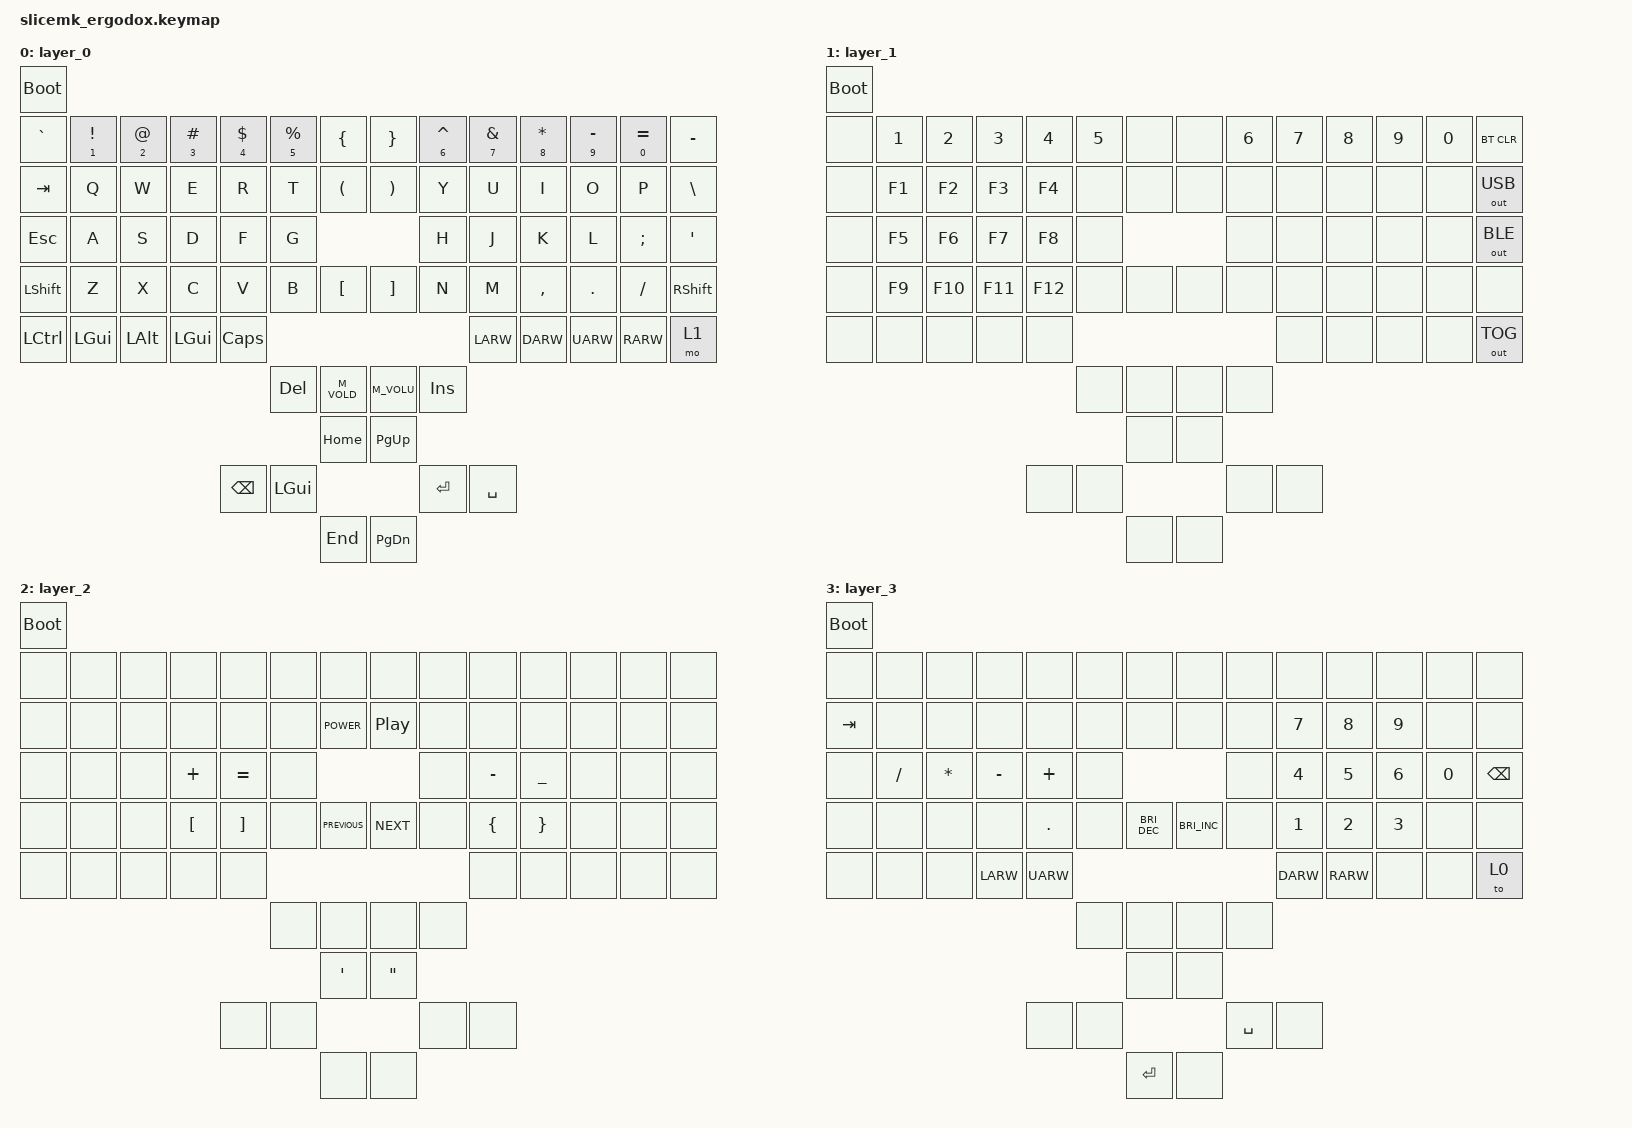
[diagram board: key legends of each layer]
#include <behaviors.dtsi>
#include <dt-bindings/zmk/bt.h>
#include <dt-bindings/zmk/keys.h>
#include <dt-bindings/zmk/outputs.h>

/ {
	keymap {
		compatible = "zmk,keymap";

                layer_0 {
                        bindings = <
    &bootloader
    &kp GRAV   &mt N1 EXCL   &mt N2 AT     &mt N3 HASH   &mt N4 DOLLAR  &mt N5 PRCNT  &kp LBRC   &kp RBRC   &mt N6 CARET  &mt N7 AMPS  &mt N8 STAR  &mt N9 MINUS  &mt N0 EQUAL  &kp MINUS
    &kp TAB    &kp Q       &kp W     &kp E      &kp R      &kp T       &kp LPAR   &kp RPAR   &kp Y      &kp U      &kp I      &kp O      &kp P      &kp BSLH
    &kp ESC    &kp A      &kp S      &kp D      &kp F      &kp G                            &kp H      &kp J      &kp K      &kp L      &kp SCLN   &kp SQT
    &kp LSHFT  &kp Z      &kp X      &kp C      &kp V      &kp B      &kp LBKT   &kp RBKT   &kp N      &kp M      &kp CMMA   &kp DOT    &kp FSLH   &kp RSHFT
    &kp LCTRL  &kp LGUI   &kp LALT   &kp LGUI   &kp CAPS                                               &kp LARW   &kp DARW   &kp UARW   &kp RARW   &mo 1
                                                           &kp DEL    &kp M_VOLD   &kp M_VOLU    &kp INS
                                                                      &kp HOME     &kp PG_UP
                                                &kp BSPC   &kp LGUI                          &kp RET    &kp SPC
                                                                      &kp END    &kp PG_DN
                        >;
                };

                layer_1 {
                        bindings = <
    &bootloader
    &none      &kp N1     &kp N2    &kp N3   &kp N4     &kp N5     &none      &none      &kp N6     &kp N7     &kp N8     &kp N9     &kp N0      &bt BT_CLR
    &none      &kp F1     &kp F2    &kp F3   &kp F4     &none      &none      &none      &none      &none      &none      &none      &none      &out OUT_USB
    &none      &kp F5     &kp F6    &kp F7   &kp F8     &none                            &none      &none      &none      &none      &none      &out OUT_BLE
    &none      &kp F9     &kp F10   &kp F11  &kp F12    &none      &none      &none      &none      &none      &none      &none      &none      &none
    &none      &none      &none     &none    &none                                                  &none      &none      &none      &none      &out OUT_TOG
                                                           &none      &none      &none      &none
                                                                      &none      &none
                                                &none      &none                            &none      &none
                                                                      &none      &none
                        >;
                };

		layer_2 {
			bindings = <
				&bootloader
				&none &none &none &none    &none            &none             &none          &none            &none &none          &none           &none &none &none
				&none &none &none &none    &none            &none             &kp C_POWER    &kp C_PLAY_PAUSE &none &none          &none           &none &none &none
				&none &none &none &kp PLUS &kp EQUAL        &none                                             &none &kp MINUS      &kp UNDERSCORE  &none &none &none
				&none &none &none &kp LBKT &kp RBKT         &none             &kp C_PREVIOUS &kp C_NEXT       &none &kp LEFT_BRACE &kp RIGHT_BRACE &none &none &none
				&none &none &none &none    &none                                                                    &none          &none           &none &none &none
				                                            &none             &none          &none            &none
				                           &kp SINGLE_QUOTE &kp DOUBLE_QUOTES &none          &none            &none &none
				                                                              &none          &none
			>;
		};

		layer_3 {
			bindings = <
				&bootloader
				&none   &none     &none        &none     &none    &none &none                &none                &none   &none        &none        &none        &none        &none
				&kp TAB &none     &none        &none     &none    &none &none                &none                &none   &kp NUMBER_7 &kp NUMBER_8 &kp NUMBER_9 &none        &none
				&none   &kp SLASH &kp ASTERISK &kp MINUS &kp PLUS &none                                           &none   &kp NUMBER_4 &kp NUMBER_5 &kp NUMBER_6 &kp NUMBER_0 &kp BKSP
				&none   &none     &none        &none     &kp DOT  &none &kp C_BRIGHTNESS_DEC &kp C_BRIGHTNESS_INC &none   &kp NUMBER_1 &kp NUMBER_2 &kp NUMBER_3 &none        &none
				&none   &none     &none        &kp LARW  &kp UARW                                                         &kp DARW     &kp RARW     &none        &none        &to 0
				                                                  &none &none                &none                &none
				                                         &none    &none &none                &none                &kp SPC &none
				                                                        &kp RET              &none
			>;
		};
	};
};
